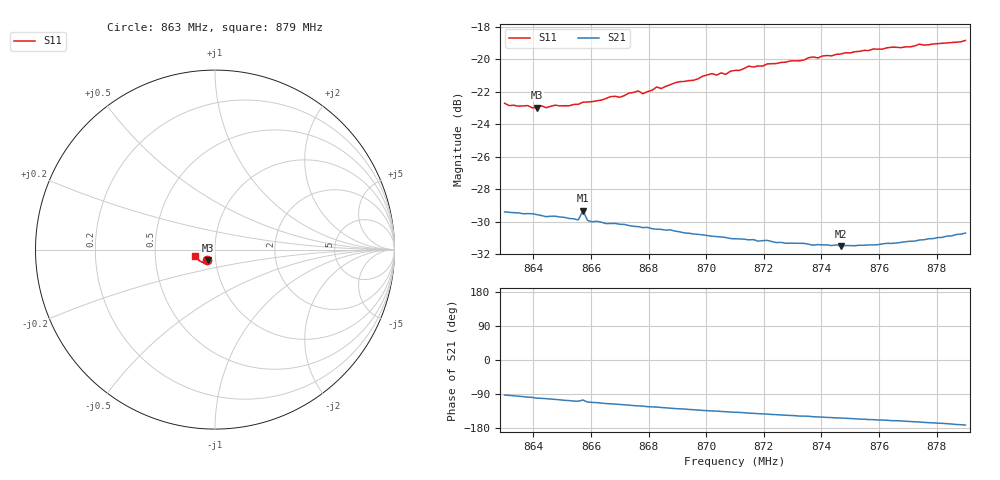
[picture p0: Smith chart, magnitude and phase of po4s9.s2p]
# HZ S RI R 50
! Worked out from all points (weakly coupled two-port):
!   101 points, 863 MHz to 879 MHz, reference 50 ohm
!   highest |S21| = -29.32 dB at 865.72 MHz (marker M1); lowest = -31.5 dB at 874.68 MHz (marker M2)
!   lowest |S11| = -23.0 dB at 864.12 MHz (marker M3), VSWR 1.15, Z = 46.1 - j5.58 ohm
!   |S11| at or under -10 dB: start of sweep to end of sweep
!   S12 and S22 are empty: the file has one direction only
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8.63e8  -0.0427 -0.0595  -0.00145 -0.0339  0 0  0 0
8.6412e8  -0.0373 -0.0603  -0.0062 -0.0327  0 0  0 0
8.6556e8  -0.0362 -0.0631  -0.0103 -0.0303  0 0  0 0
8.6572e8  -0.0284 -0.0681  -0.00919 -0.0329  0 0  0 0
8.6588e8  -0.0367 -0.0642  -0.0115 -0.0298  0 0  0 0
8.6604e8  -0.0363 -0.0646  -0.0117 -0.0293  0 0  0 0
8.6668e8  -0.0375 -0.067  -0.0135 -0.0282  0 0  0 0
8.67e8  -0.0374 -0.0666  -0.0143 -0.0276  0 0  0 0
8.6764e8  -0.0408 -0.0687  -0.0158 -0.0262  0 0  0 0
8.678e8  -0.0394 -0.0677  -0.0159 -0.0258  0 0  0 0
8.6828e8  -0.0419 -0.0707  -0.0168 -0.0249  0 0  0 0
8.6844e8  -0.0415 -0.0699  -0.0174 -0.0244  0 0  0 0
8.6892e8  -0.044 -0.0724  -0.0182 -0.0233  0 0  0 0
8.702e8  -0.051 -0.0746  -0.02 -0.0203  0 0  0 0
8.7068e8  -0.0533 -0.0724  -0.0205 -0.0195  0 0  0 0
8.71e8  -0.0565 -0.0731  -0.0208 -0.0188  0 0  0 0
8.7148e8  -0.0595 -0.0744  -0.0214 -0.0178  0 0  0 0
8.7196e8  -0.0616 -0.0727  -0.0219 -0.0169  0 0  0 0
8.7372e8  -0.0737 -0.07  -0.0231 -0.0135  0 0  0 0
8.7468e8  -0.0808 -0.0653  -0.0237 -0.012  0 0  0 0
8.7644e8  -0.0939 -0.0552  -0.0255 -0.00923  0 0  0 0
8.79e8  -0.1091 -0.0341  -0.0289 -0.00425  0 0  0 0
